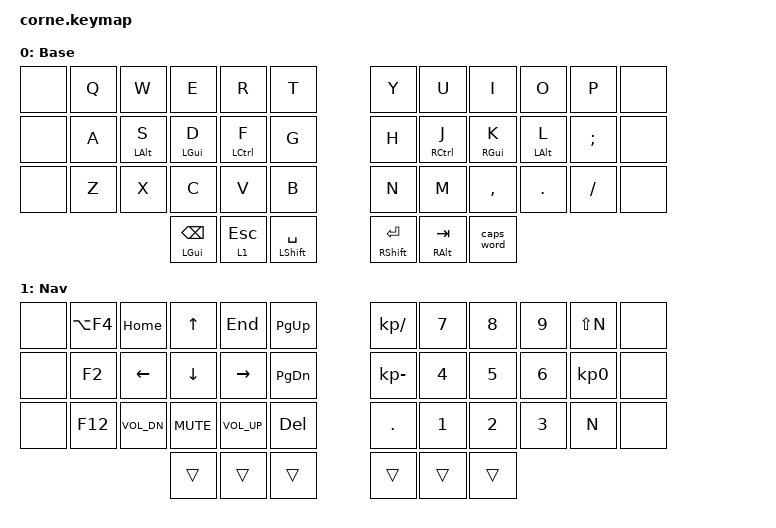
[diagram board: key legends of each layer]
#include <behaviors.dtsi>
#include <dt-bindings/zmk/keys.h>

/ {
    combos { compatible = "zmk,combos"; };

    behaviors {
        hml: homewrow_mods_left {
            compatible = "zmk,behavior-hold-tap";
            label = "HOMEROW_MODS_LEFT_HAND";
            bindings = <&kp>, <&kp>;

            #binding-cells = <2>;
            tapping-term-ms = <350>;
            flavor = "balanced";
            hold-trigger-key-positions = <21 39 40 41 30 31 32 6 7 8 9 10 18 19 20 21 22 30 31 32 33 34 11 23 35>;
        };

        hmr: homewrow_mods_right {
            compatible = "zmk,behavior-hold-tap";
            label = "HOMEROW_MODS_RIGHT_HAND";
            bindings = <&kp>, <&kp>;

            #binding-cells = <2>;
            tapping-term-ms = <350>;
            flavor = "balanced";
            hold-trigger-key-positions = <0 1 2 3 4 5 12 13 14 15 16 17 24 25 26 27 28 29 36 37 38>;
        };
    };

    keymap {
        compatible = "zmk,keymap";

        Base {
            bindings = <
&none  &kp Q  &kp W            &kp E               &kp R                &kp T                   &kp Y                  &kp U                 &kp I             &kp O            &kp P     &none
&none  &kp A  &hml LEFT_ALT S  &hml LEFT_GUI D     &hml LEFT_CONTROL F  &kp G                   &kp H                  &hmr RIGHT_CONTROL J  &hmr RIGHT_GUI K  &hmr LEFT_ALT L  &kp SEMI  &none
&none  &kp Z  &kp X            &kp C               &kp V                &kp B                   &kp N                  &kp M                 &kp COMMA         &kp DOT          &kp FSLH  &none
                               &mt LGUI BACKSPACE  &lt 1 ESCAPE         &mt LEFT_SHIFT SPACE    &mt RIGHT_SHIFT ENTER  &mt RIGHT_ALT TAB     &caps_word
            >;
        };

        Nav {
            bindings = <
&none  &kp LA(F4)  &kp HOME      &kp UP      &kp END       &kp PAGE_UP      &kp KP_SLASH  &kp N7  &kp N8  &kp N9  &kp LS(N)        &none
&none  &kp F2      &kp LEFT      &kp DOWN    &kp RIGHT     &kp PAGE_DOWN    &kp KP_MINUS  &kp N4  &kp N5  &kp N6  &kp KP_NUMBER_0  &none
&none  &kp F12     &kp C_VOL_DN  &kp C_MUTE  &kp C_VOL_UP  &kp DEL          &kp DOT       &kp N1  &kp N2  &kp N3  &kp N            &none
                                 &trans      &trans        &trans           &trans        &trans  &trans
            >;
        };
    };
};

